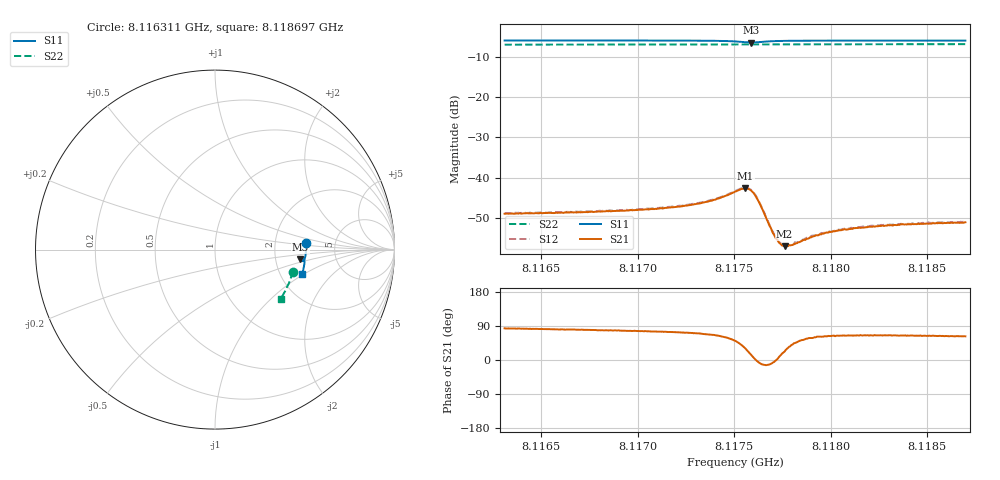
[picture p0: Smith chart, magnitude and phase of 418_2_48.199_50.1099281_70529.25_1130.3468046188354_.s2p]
#  HZ  S  RI  R  50.00
! Rohde & Schwarz Vector Network Analyzer
! Rohde-Schwarz,ZNB20-2Port,1311601062101988,3.16
! Created: UTC 3/20/2024, 11:54:49 AM
! freq[Hz]  re:S11  im:S11  re:S21  im:S21  re:S12  im:S12  re:S22  im:S22
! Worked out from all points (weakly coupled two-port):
!   401 points, 8.116311 GHz to 8.118697 GHz, reference 50 ohm
!   highest |S21| = -42.68 dB at 8.117558 GHz (marker M1); lowest = -57.1 dB at 8.11776 GHz (marker M2)
!   lowest |S11| = -6.4 dB at 8.117587 GHz (marker M3), VSWR 2.83, Z = 138 - j19.6 ohm
!   |S11| at or under -10 dB: nowhere
!   |S22| runs from -6.9 to -6.8 dB; largest |S21 - S12| = 0.00018
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8.1163105e9  0.5059 0.0353  0.000398 0.00353  0.000428 0.00359  0.4328 -0.1222
8.1167103e9  0.5064 0.00483  0.00063 0.00366  0.000716 0.0037  0.4254 -0.1489
8.1169609e9  0.5057 -0.0145  0.000884 0.00384  0.000946 0.00386  0.4198 -0.1656
8.1171101e9  0.5047 -0.0264  0.00107 0.00398  0.00114 0.00404  0.4163 -0.1754
8.1172294e9  0.5035 -0.0366  0.00134 0.00418  0.00139 0.00423  0.4133 -0.1832
8.1173488e9  0.5012 -0.0473  0.00182 0.00461  0.00187 0.00466  0.4102 -0.191
8.1174263e9  0.4977 -0.0553  0.00252 0.00499  0.00261 0.00504  0.4077 -0.1961
8.1175039e9  0.4896 -0.063  0.00423 0.00518  0.00435 0.00523  0.4053 -0.201
8.1175576e9  0.4784 -0.0619  0.00634 0.00372  0.00648 0.00376  0.4033 -0.2041
8.1175874e9  0.4751 -0.0547  0.0067 0.00164  0.00685 0.00158  0.4025 -0.2054
8.1176053e9  0.4766 -0.0499  0.00617 0.000365  0.00627 0.000368  0.402 -0.2063
8.1176232e9  0.4804 -0.0468  0.0052 -0.000444  0.00533 -0.00051  0.4017 -0.2073
8.1176889e9  0.4933 -0.0497  0.00234 -0.000428  0.00233 -0.000486  0.4004 -0.2116
8.1177187e9  0.4958 -0.0535  0.00172 4.15e-06  0.00179 -2.03e-05  0.3997 -0.2135
8.1177366e9  0.4969 -0.0558  0.00149 0.000286  0.00154 0.000241  0.399 -0.2147
8.1177605e9  0.4977 -0.0586  0.0013 0.000532  0.00134 0.000536  0.3984 -0.2163
8.1177963e9  0.4985 -0.0629  0.00111 0.000925  0.00116 0.000906  0.3973 -0.2186
8.1179037e9  0.4987 -0.0736  0.000974 0.00156  0.00101 0.00161  0.394 -0.2256
8.1179812e9  0.498 -0.0805  0.000953 0.00184  0.000987 0.00186  0.3914 -0.2302
8.1180707e9  0.4971 -0.0879  0.000982 0.00206  0.00101 0.00209  0.3884 -0.2359
8.1183034e9  0.4936 -0.1061  0.00105 0.00231  0.00113 0.00236  0.3802 -0.25
8.1186972e9  0.4862 -0.1352  0.00129 0.00247  0.0013 0.00252  0.3652 -0.2734
